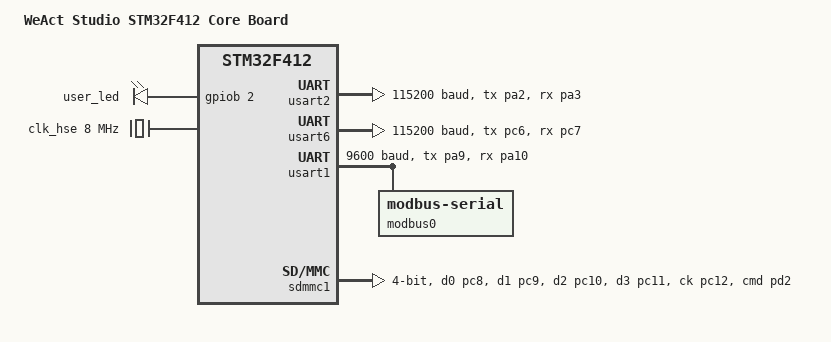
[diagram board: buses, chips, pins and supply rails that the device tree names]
/* SPDX-License-Identifier: Apache-2.0 */

/dts-v1/;
#include <st/f4/stm32f412Xe.dtsi>
#include <st/f4/stm32f412r(e-g)tx-pinctrl.dtsi>
#include <zephyr/dt-bindings/clock/stm32f410_clock.h>

/ {
	model = "WeAct Studio STM32F412 Core Board";
	compatible = "weact,stm32f412-core", "st,stm32f412";

	chosen {
		zephyr,sram = &sram0;
		zephyr,flash = &flash0;
		zephyr,console = &usart2;
		zephyr,shell-uart = &usart2;
	};

	leds {
		compatible = "gpio-leds";

		user_led: led {
			gpios = <&gpiob 2 GPIO_ACTIVE_HIGH>;
		};
	};

	aliases {
		led0 = &user_led;
	};
};

&clk_hse {
	clock-frequency = <DT_FREQ_M(8)>;
	status = "okay";
};

&pll {
	div-m = <8>;
	mul-n = <192>;
	div-p = <2>;
	div-q = <4>;
	clocks = <&clk_hse>;
	status = "okay";
};

&rcc {
	clocks = <&pll>;
	clock-frequency = <DT_FREQ_M(96)>;
	ahb-prescaler = <1>;
	apb1-prescaler = <2>;
	apb2-prescaler = <1>;
};

&usart2 {
	pinctrl-0 = <&usart2_tx_pa2 &usart2_rx_pa3>;
	pinctrl-names = "default";
	current-speed = <115200>;
	status = "okay";
};

&dma2 {
	status = "okay";
};

&usart6 {
	pinctrl-0 = <&usart6_tx_pc6 &usart6_rx_pc7>;
	pinctrl-names = "default";
	current-speed = <115200>;
	dmas = <&dma2 6 5 STM32_DMA_PERIPH_TX 0>,
	       <&dma2 1 5 STM32_DMA_PERIPH_RX 0>;
	dma-names = "tx", "rx";
	status = "okay";
};

&usart1 {
	pinctrl-0 = <&usart1_tx_pa9 &usart1_rx_pa10>;
	pinctrl-names = "default";
	current-speed = <9600>;
	status = "okay";

	modbus0: modbus0 {
		compatible = "zephyr,modbus-serial";
		status = "okay";
	};
};

&sdmmc1 {
	pinctrl-0 = <&sdio_d0_pc8 &sdio_d1_pc9 &sdio_d2_pc10 &sdio_d3_pc11
		     &sdio_ck_pc12 &sdio_cmd_pd2>;
	pinctrl-names = "default";
	clocks = <&rcc STM32_CLOCK(APB2, 11)>,
		 <&rcc STM32_SRC_PLL_Q SDIO_SEL(0)>;
	disk-name = "SD";
	bus-width = <4>;
	clk-div = <4>;
	status = "okay";
};
